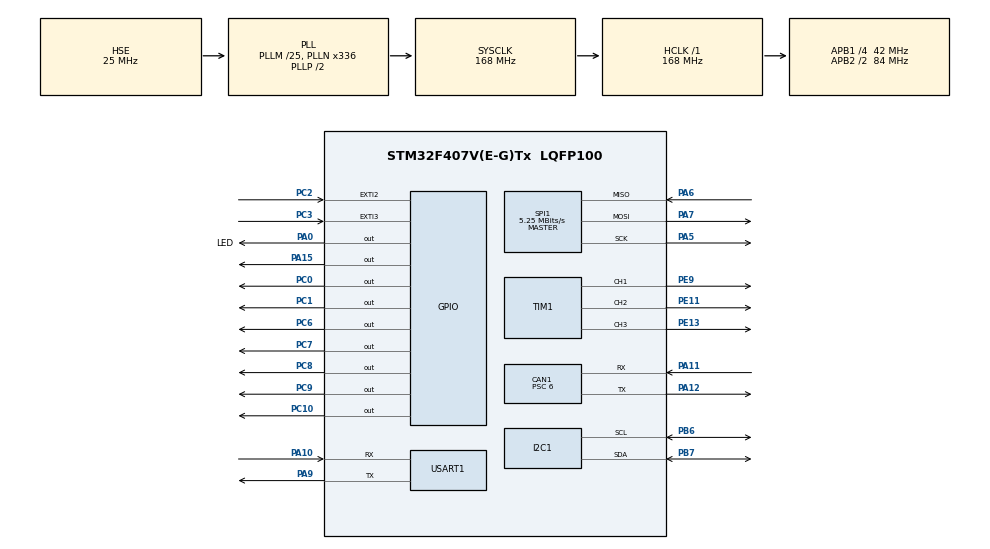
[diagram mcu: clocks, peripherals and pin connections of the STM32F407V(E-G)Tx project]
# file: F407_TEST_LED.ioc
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Mcu.Family=STM32F4
PA6.Mode=Full_Duplex_Master
PH0-OSC_IN.Signal=RCC_OSC_IN
RCC.CortexFreq_Value=168000000
SPI1.VirtualType=VM_MASTER
PC10.Signal=GPIO_Output
PA11.Mode=CAN_Activate
RCC.SYSCLKSource=RCC_SYSCLKSOURCE_PLLCLK
ProjectManager.StackSize=0x400
PA12.Signal=CAN1_TX
SPI1.Direction=SPI_DIRECTION_2LINES
RCC.HCLKFreq_Value=168000000
RCC.APB2TimFreq_Value=168000000
PB6.Signal=I2C1_SCL
PC7.Signal=GPIO_Output
PB6.Mode=I2C
SPI1.CalculateBaudRate=5.25 MBits/s
PC3.Signal=GPXTI3
RCC.AHBFreq_Value=168000000
PH0-OSC_IN.Mode=HSE-External-Oscillator
RCC.HSE_VALUE=25000000
PE13.Signal=S_TIM1_CH3
TIM1.Channel-PWM\ Generation1\ CH1=TIM_CHANNEL_1
PE9.Signal=S_TIM1_CH1
PA14.Mode=Serial_Wire
NVIC.TIM2_IRQn=true\:0\:0\:false\:false\:true\:true\:true
PB7.Signal=I2C1_SDA
PH1-OSC_OUT.Mode=HSE-External-Oscillator
CAN1.Prescaler=6
Mcu.Package=LQFP100
TIM2.Prescaler=168
PA6.Signal=SPI1_MISO
PA10.Signal=USART1_RX
PA15.Signal=GPIO_Output
RCC.APB2CLKDivider=RCC_HCLK_DIV2
TIM1.BreakState=TIM_BREAK_ENABLE
RCC.APB1TimFreq_Value=84000000
SPI1.BaudRatePrescaler=SPI_BAUDRATEPRESCALER_16
CAN1.CalculateTimeBit=999.99
PC2.GPIO_ModeDefaultEXTI=GPIO_MODE_IT_RISING_FALLING
CAN1.CalculateTimeQuantum=142.85714285714286
PA5.Mode=Full_Duplex_Master
RCC.PLLSourceVirtual=RCC_PLLSOURCE_HSE
PA7.Mode=Full_Duplex_Master
PA10.Mode=Asynchronous
PC3.GPIO_ModeDefaultEXTI=GPIO_MODE_IT_RISING_FALLING
CAN1.CalculateBaudRate=1000000
PC8.Signal=GPIO_Output
PC2.Signal=GPXTI2
PC6.Signal=GPIO_Output
PC0.Signal=GPIO_Output
RCC.APB1CLKDivider=RCC_HCLK_DIV4
PA0-WKUP.GPIO_Label=LED
PA0-WKUP.Signal=GPIO_Output
PA13.Signal=SYS_JTMS-SWDIO
TIM1.AutoReloadPreload=TIM_AUTORELOAD_PRELOAD_ENABLE
PA9.Mode=Asynchronous
SH.S_TIM1_CH1.0=TIM1_CH1,PWM Generation1 CH1
CAN1.BS2=CAN_BS2_2TQ
CAN1.BS1=CAN_BS1_4TQ
ProjectManager.TargetToolchain=STM32CubeIDE
I2C1.I2C_Mode=I2C_Fast
PA9.Signal=USART1_TX
TIM1.Channel-PWM\ Generation2\ CH2=TIM_CHANNEL_2
PE11.Signal=S_TIM1_CH2
RCC.LSE_VALUE=32768
PA5.Signal=SPI1_SCK
board=custom
RCC.VCOOutputFreq_Value=336000000
RCC.APB2Freq_Value=84000000
VP_TIM2_VS_ClockSourceINT.Mode=Internal
SH.S_TIM1_CH2.0=TIM1_CH2,PWM Generation2 CH2
SPI1.Mode=SPI_MODE_MASTER
PH1-OSC_OUT.Signal=RCC_OSC_OUT
PC2.GPIO_PuPd=GPIO_PULLUP
TIM2.Period=10000
PA13.Mode=Serial_Wire
Mcu.Name=STM32F407V(E-G)Tx
RCC.48MHZClocksFreq_Value=84000000
RCC.SYSCLKFreq_VALUE=168000000
PA12.Mode=CAN_Activate
USART1.VirtualMode=VM_ASYNC
PB7.Mode=I2C
PA11.Signal=CAN1_RX
PA14.Signal=SYS_JTCK-SWCLK
ProjectManager.HeapSize=0x200
SH.S_TIM1_CH3.0=TIM1_CH3,PWM Generation3 CH3
RCC.HSI_VALUE=16000000
NVIC.PriorityGroup=NVIC_PRIORITYGROUP_4
RCC.PLLM=25
RCC.PLLN=336
TIM2.AutoReloadPreload=TIM_AUTORELOAD_PRELOAD_ENABLE
PC9.Signal=GPIO_Output
TIM1.Channel-PWM\ Generation3\ CH3=TIM_CHANNEL_3
RCC.APB1Freq_Value=42000000
PC1.Signal=GPIO_Output
NVIC.CAN1_RX0_IRQn=true\:0\:0\:false\:false\:true\:true\:true
PC3.GPIO_PuPd=GPIO_PULLUP
PA7.Signal=SPI1_MOSI

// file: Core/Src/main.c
/* USER CODE BEGIN Header */
/**
  ******************************************************************************
  * @file           : main.c
  * @brief          : Main program body
  ******************************************************************************
  * @attention
  *
  * <h2><center>&copy; Copyright (c) 2023 STMicroelectronics.
  * All rights reserved.</center></h2>
  *
  * This software component is licensed by ST under BSD 3-Clause license,
  * the "License"; You may not use this file except in compliance with the
  * License. You may obtain a copy of the License at:
  *                        opensource.org/licenses/BSD-3-Clause
  *
  ******************************************************************************
  */
/* USER CODE END Header */
#include "main.h"
#include "can.h"
#include "i2c.h"
#include "spi.h"
#include "tim.h"
#include "usart.h"
#include "gpio.h"

void SystemClock_Config(void);

int main(void)
{
  /* USER CODE BEGIN 1 */

	int32_t dutyCycle = 0;

  /* USER CODE END 1 */

  /* MCU Configuration--------------------------------------------------------*/

  /* Reset of all peripherals, Initializes the Flash interface and the Systick. */
  HAL_Init();

  /* Configure the system clock */
  SystemClock_Config();

  /* Initialize all configured peripherals */
  MX_GPIO_Init();
  MX_TIM1_Init();
  MX_TIM2_Init();
  MX_CAN1_Init();
  MX_I2C1_Init();
  MX_SPI1_Init();
  MX_USART1_UART_Init();
  /* USER CODE BEGIN 2 */

  HAL_TIM_PWM_Start(&htim1, TIM_CHANNEL_1);
  HAL_TIM_PWM_Start(&htim1, TIM_CHANNEL_2);
  HAL_TIM_PWM_Start(&htim1, TIM_CHANNEL_3);

  HAL_TIM_Base_Start_IT(&htim2);

  /* USER CODE END 2 */

  /* Infinite loop */
  while (1)
  {

    /* USER CODE BEGIN 3 */

//	  HAL_GPIO_TogglePin(GPIOA, GPIO_PIN_15);
//
//	  HAL_GPIO_TogglePin(GPIOA, GPIO_PIN_0);
//	  HAL_Delay(1000);
//
//
//	   while(dutyCycle < 65535)
//	        {
//	            TIM1->CCR1 = dutyCycle;
//	            dutyCycle += 100;
//	            HAL_Delay(1);
//
//	            TIM1->CCR2 = dutyCycle;
//	            dutyCycle += 100;
//	            HAL_Delay(1);
//
//	            TIM1->CCR3 = dutyCycle;
//	            dutyCycle += 100;
//	            HAL_Delay(1);
//	        }
//	        while(dutyCycle > 0)
//	        {
//	            TIM1->CCR1 = dutyCycle;
//	            dutyCycle -= 100;
//	            HAL_Delay(1);
//
//	            TIM1->CCR2 = dutyCycle;
//	            dutyCycle -= 100;
//	            HAL_Delay(1);
//
//	            TIM1->CCR3 = dutyCycle;
//	            dutyCycle -= 100;
//	            HAL_Delay(1);
//	        }

	  uint8_t data[] = "HELLO WORLD \r\n";

	  HAL_UART_Transmit (&huart1, data, sizeof (data), 10);

//	  toggle LED ;

	  HAL_Delay (250);  // 250 ms delay

//	  HAL_GPIO_WritePin(GPIOC,GPIO_PIN_11, 1);
//	  HAL_Delay(1000);
//
//	  HAL_GPIO_WritePin(GPIOC,GPIO_PIN_11, 0);
//	  HAL_Delay(1000);

	  HAL_GPIO_TogglePin(GPIOA, GPIO_PIN_0);
	  HAL_Delay(100);

  }
  /* USER CODE END 3 */
}

void SystemClock_Config(void)
{
  RCC_OscInitTypeDef RCC_OscInitStruct = {0};
  RCC_ClkInitTypeDef RCC_ClkInitStruct = {0};

  /** Configure the main internal regulator output voltage
  */
  __HAL_RCC_PWR_CLK_ENABLE();
  __HAL_PWR_VOLTAGESCALING_CONFIG(PWR_REGULATOR_VOLTAGE_SCALE1);
  /** Initializes the RCC Oscillators according to the specified parameters
  * in the RCC_OscInitTypeDef structure.
  */
  RCC_OscInitStruct.OscillatorType = RCC_OSCILLATORTYPE_HSE;
  RCC_OscInitStruct.HSEState = RCC_HSE_ON;
  RCC_OscInitStruct.PLL.PLLState = RCC_PLL_ON;
  RCC_OscInitStruct.PLL.PLLSource = RCC_PLLSOURCE_HSE;
  RCC_OscInitStruct.PLL.PLLM = 25;
  RCC_OscInitStruct.PLL.PLLN = 336;
  RCC_OscInitStruct.PLL.PLLP = RCC_PLLP_DIV2;
  RCC_OscInitStruct.PLL.PLLQ = 4;
  if (HAL_RCC_OscConfig(&RCC_OscInitStruct) != HAL_OK)
  {
    Error_Handler();
  }
  /** Initializes the CPU, AHB and APB buses clocks
  */
  RCC_ClkInitStruct.ClockType = RCC_CLOCKTYPE_HCLK|RCC_CLOCKTYPE_SYSCLK
                              |RCC_CLOCKTYPE_PCLK1|RCC_CLOCKTYPE_PCLK2;
  RCC_ClkInitStruct.SYSCLKSource = RCC_SYSCLKSOURCE_PLLCLK;
  RCC_ClkInitStruct.AHBCLKDivider = RCC_SYSCLK_DIV1;
  RCC_ClkInitStruct.APB1CLKDivider = RCC_HCLK_DIV4;
  RCC_ClkInitStruct.APB2CLKDivider = RCC_HCLK_DIV2;

  if (HAL_RCC_ClockConfig(&RCC_ClkInitStruct, FLASH_LATENCY_5) != HAL_OK)
  {
    Error_Handler();
  }
}

/* USER CODE BEGIN 4 */

void HAL_TIM_PeriodElapsedCallback(TIM_HandleTypeDef* htim)
{
	if (htim->Instance == TIM2)
	{
		TIM1->CCR1=65535;
		TIM1->CCR2=65535;
		TIM1->CCR3=65535;
	}
}

/* USER CODE END 4 */

void Error_Handler(void)
{
  __disable_irq();
  while (1)
  {
  }
}

/************************ (C) COPYRIGHT STMicroelectronics *****END OF FILE****/
